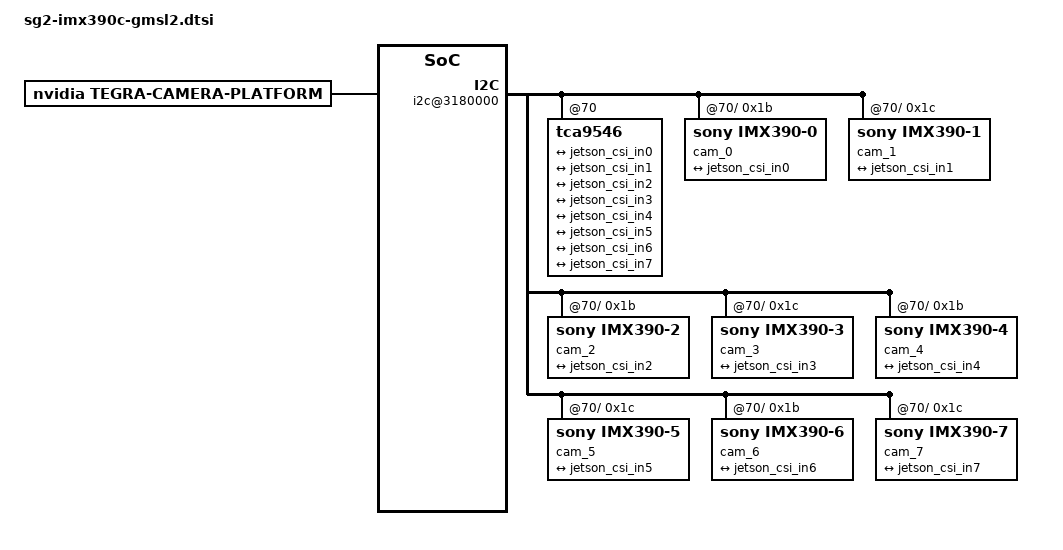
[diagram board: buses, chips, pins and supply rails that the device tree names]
/*
 * Copyright (c) 2018-2021, NVIDIA CORPORATION.  All rights reserved.
 *
 * This program is free software; you can redistribute it and/or modify it
 * under the terms and conditions of the GNU General Public License,
 * version 2, as published by the Free Software Foundation.
 *
 * This program is distributed in the hope it will be useful, but WITHOUT
 * ANY WARRANTY; without even the implied warranty of MERCHANTABILITY or
 * FITNESS FOR A PARTICULAR PURPOSE.  See the GNU General Public License for
 * more details.
 *
 * You should have received a copy of the GNU General Public License
 * along with this program.  If not, see <http://www.gnu.org/licenses/>.
 */

/ {
	tegra-capture-vi {
		num-channels = <8>;
		ports {
			#address-cells = <1>;
			#size-cells = <0>;
			port@0 {
				reg = <0>;
				jetson_vi_in0: endpoint {
					vc-id = <1>;
					port-index = <0>;
					bus-width = <4>;
					remote-endpoint = <&jetson_csi_out0>;
				};
			};
			port@1 {
				reg = <1>;
				jetson_vi_in1: endpoint {
					vc-id = <2>;
					port-index = <0>;
					bus-width = <4>;
					remote-endpoint = <&jetson_csi_out1>;
				};
			};
			port@2 {
				reg = <2>;
				jetson_vi_in2: endpoint {
					vc-id = <1>;
					port-index = <2>;
					bus-width = <4>;
					remote-endpoint = <&jetson_csi_out2>;
				};
			};
			port@3 {
				reg = <3>;
				jetson_vi_in3: endpoint {
					vc-id = <2>;
					port-index = <2>;
					bus-width = <4>;
					remote-endpoint = <&jetson_csi_out3>;
				};
			};
			port@4 {
				reg = <4>;
				jetson_vi_in4: endpoint {
					vc-id = <1>;
					port-index = <4>;
					bus-width = <4>;
					remote-endpoint = <&jetson_csi_out4>;
				};
			};
			port@5 {
				reg = <5>;
				jetson_vi_in5: endpoint {
					vc-id = <2>;
					port-index = <4>;
					bus-width = <4>;
					remote-endpoint = <&jetson_csi_out5>;
				};
			};
			port@6 {
				reg = <6>;
				jetson_vi_in6: endpoint {
					vc-id = <1>;
					port-index = <5>;
					bus-width = <4>;
					remote-endpoint = <&jetson_csi_out6>;
				};
			};
			port@7 {
				reg = <7>;
				jetson_vi_in7: endpoint {
					vc-id = <2>;
					port-index = <5>;
					bus-width = <4>;
					remote-endpoint = <&jetson_csi_out7>;
				};
			};
		};
	};

	bus@0 {
		host1x@13e00000 {
			nvcsi@15a00000 {
				num-channels = <8>;
				#address-cells = <1>;
				#size-cells = <0>;
				channel@0 {
					reg = <0>;
					ports {
						#address-cells = <1>;
						#size-cells = <0>;
						port@0 {
							reg = <0>;
							jetson_csi_in0: endpoint@0 {
								port-index = <0>;
								bus-width = <4>;
								remote-endpoint = <&sensor_out0>;
							};
						};
						port@1 {
							reg = <1>;
							jetson_csi_out0: endpoint@1 {
								remote-endpoint = <&jetson_vi_in0>;
							};
						};
					};
				};
				channel@1 {
					reg = <1>;
					ports {
						#address-cells = <1>;
						#size-cells = <0>;
						port@0 {
							reg = <0>;
							jetson_csi_in1: endpoint@2 {
								port-index = <0>;
								bus-width = <4>;
								remote-endpoint = <&sensor_out1>;
							};
						};
						port@1 {
							reg = <1>;
							jetson_csi_out1: endpoint@3 {
								remote-endpoint = <&jetson_vi_in1>;
							};
						};
					};
				};
				channel@2 {
					reg = <2>;
					ports {
						#address-cells = <1>;
						#size-cells = <0>;
						port@0 {
							reg = <0>;
							jetson_csi_in2: endpoint@4 {
								port-index = <2>;
								bus-width = <4>;
								remote-endpoint = <&sensor_out2>;
							};
						};
						port@1 {
							reg = <1>;
							jetson_csi_out2: endpoint@5 {
								remote-endpoint = <&jetson_vi_in2>;
							};
						};
					};
				};
				channel@3 {
					reg = <3>;
					ports {
						#address-cells = <1>;
						#size-cells = <0>;
						port@0 {
							reg = <0>;
							jetson_csi_in3: endpoint@6 {
								port-index = <2>;
								bus-width = <4>;
								remote-endpoint = <&sensor_out3>;
							};
						};
						port@1 {
							reg = <1>;
							jetson_csi_out3: endpoint@7 {
								remote-endpoint = <&jetson_vi_in3>;
							};
						};
					};
				};
				channel@4 {
					reg = <4>;
					ports {
						#address-cells = <1>;
						#size-cells = <0>;
						port@0 {
							reg = <0>;
							jetson_csi_in4: endpoint@8 {
								port-index = <4>;
								bus-width = <4>;
								remote-endpoint = <&sensor_out4>;
							};
						};
						port@1 {
							reg = <1>;
							jetson_csi_out4: endpoint@9 {
								remote-endpoint = <&jetson_vi_in4>;
							};
						};
					};
				};
				channel@5 {
					reg = <5>;
					ports {
						#address-cells = <1>;
						#size-cells = <0>;
						port@0 {
							reg = <0>;
							jetson_csi_in5: endpoint@10 {
								port-index = <4>;
								bus-width = <4>;
								remote-endpoint = <&sensor_out5>;
							};
						};
						port@1 {
							reg = <1>;
							jetson_csi_out5: endpoint@11 {
								remote-endpoint = <&jetson_vi_in5>;
							};
						};
					};
				};
				channel@6 {
					reg = <6>;
					ports {
						#address-cells = <1>;
						#size-cells = <0>;
						port@0 {
							reg = <0>;
							jetson_csi_in6: endpoint@12 {
								port-index = <6>;
								bus-width = <4>;
								remote-endpoint = <&sensor_out6>;
							};
						};
						port@1 {
							reg = <1>;
							jetson_csi_out6: endpoint@13 {
								remote-endpoint = <&jetson_vi_in6>;
							};
						};
					};
				};
				channel@7 {
					reg = <7>;
					ports {
						#address-cells = <1>;
						#size-cells = <0>;
						port@0 {
							reg = <0>;
							jetson_csi_in7: endpoint@14 {
								port-index = <6>;
								bus-width = <4>;
								remote-endpoint = <&sensor_out7>;
							};
						};
						port@1 {
							reg = <1>;
							jetson_csi_out7: endpoint@15 {
								remote-endpoint = <&jetson_vi_in7>;
							};
						};
					};
				};
			};
		};
	
		i2c@3180000 {
			tca9546@70 {
				i2c@0 {
					cam_0@1b {
						compatible = "sony,imx390-0";
						reg = <0x1b>;
						def-addr = <0x21>;
						devnode = "video0";
	
						/* Physical dimensions of sensor */
						physical_w = "15.0";
						physical_h = "12.5";
	
						sensor_model ="imx390";
	
						/* Defines number of frames to be dropped by driver internally after applying */
						/* sensor crop settings. Some sensors send corrupt frames after applying */
						/* crop co-ordinates */
						post_crop_frame_drop = "0";
	
						/* Convert Gain to unit of dB (decibel) befor passing to kernel driver */
						use_decibel_gain = "true";
	
						/* enable CID_SENSOR_MODE_ID for sensor modes selection */
						use_sensor_mode_id = "true";
	
						mode0 {/*mode SENSOR_MODE_1920X1080_LCG_30FPS*/
							mclk_khz = "24000";
							num_lanes = "4";
							tegra_sinterface = "serial_a";
							vc_id = "1";
							discontinuous_clk = "no";
							dpcm_enable = "false";
							cil_settletime = "0";
							dynamic_pixel_bit_depth = "12";
							csi_pixel_bit_depth = "12";
							mode_type = "bayer";
							pixel_phase = "rggb";
	
							active_w = "1920";
							active_h = "1080";
							readout_orientation = "0";
							line_length = "2200";
							inherent_gain = "1";
							pix_clk_hz = "74250000";
							serdes_pix_clk_hz = "400000000";
	
							gain_factor = "1000";
							min_gain_val = "1"; /* dB */
							max_gain_val = "30000"; /* dB */
							step_gain_val = "300"; /* 0.3 */
							default_gain = "1";
							min_hdr_ratio = "1";
							max_hdr_ratio = "1";
							framerate_factor = "1000000";
							min_framerate = "30000000";
							max_framerate = "30000000";
							step_framerate = "1";
							default_framerate = "30000000";
							exposure_factor = "1000000";
							min_exp_time = "59"; /*us, 2 lines*/
							max_exp_time = "33200";
							step_exp_time = "2";
							default_exp_time = "2000";/* us */
							embedded_metadata_height = "0";
						};
						mode1 {/*mode SENSOR_MODE_1920X1080_CROP_30FPS*/
							mclk_khz = "24000";
							num_lanes = "4";
							tegra_sinterface = "serial_a";
							vc_id = "1";
							discontinuous_clk = "no";
							dpcm_enable = "false";
							cil_settletime = "0";
							dynamic_pixel_bit_depth = "20";
							csi_pixel_bit_depth = "12";
							mode_type = "bayer_wdr_pwl";
							pixel_phase = "rggb";
	
							active_w = "1920";
							active_h = "1080";
							readout_orientation = "0";
							line_length = "2200";
							inherent_gain = "1";
							pix_clk_hz = "74250000";
							serdes_pix_clk_hz = "400000000";
	
							gain_factor = "1000";
							min_gain_val = "1"; /* dB */
							max_gain_val = "30000"; /* dB */
							step_gain_val = "300"; /* 0.3 */
							default_gain = "1";
							min_hdr_ratio = "1";
							max_hdr_ratio = "1";
							framerate_factor = "1000000";
							min_framerate = "30000000";
							max_framerate = "30000000";
							step_framerate = "1";
							default_framerate = "30000000";
							exposure_factor = "1000000";
							min_exp_time = "59"; /*us, 2 lines*/
							max_exp_time = "33333";
							step_exp_time = "1";
							default_exp_time = "33333";/* us */
							embedded_metadata_height = "0";
	
							/* WDR related settings */
							num_control_point = "9";
							control_point_x_0 = "0";
							control_point_x_1 = "480";
							control_point_x_2 = "1438";
							control_point_x_3 = "4315";
							control_point_x_4 = "12945";
							control_point_x_5 = "38836";
							control_point_x_6 = "116508";
							control_point_x_7 = "349525";
							control_point_x_8 = "1048576";
							control_point_y_0 = "0";
							control_point_y_1 = "480";
							control_point_y_2 = "840";
							control_point_y_3 = "1240";
							control_point_y_4 = "1696";
							control_point_y_5 = "2200";
							control_point_y_6 = "2764";
							control_point_y_7 = "3396";
							control_point_y_8 = "4096";
						};
						ports {
							#address-cells = <1>;
							#size-cells = <0>;
							port@0 {
								reg = <0>;
								sensor_out0: endpoint {
									vc-id = <1>;
									port-index = <0>;
									bus-width = <4>;
									remote-endpoint = <&jetson_csi_in0>;
								};
							};
						};
						gmsl-link {
							src-csi-port = "b";
							dst-csi-port = "a";
							serdes-csi-link = "a";
							csi-mode = "1x4";
							st-vc = <0>;
							vc-id = <1>;
							num-lanes = <4>;
							streams = "ued-u1", "raw12";
						};
					};
					cam_1@1c {
						compatible = "sony,imx390-1";
						reg = <0x1c>;
						def-addr = <0x21>;
						devnode = "video1";
	
						/* Physical dimensions of sensor */
						physical_w = "15.0";
						physical_h = "12.5";
	
						sensor_model ="imx390";
	
						/* Defines number of frames to be dropped by driver internally after applying */
						/* sensor crop settings. Some sensors send corrupt frames after applying */
						/* crop co-ordinates */
						post_crop_frame_drop = "0";
	
						/* Convert Gain to unit of dB (decibel) befor passing to kernel driver */
						use_decibel_gain = "true";
	
						/* enable CID_SENSOR_MODE_ID for sensor modes selection */
						use_sensor_mode_id = "true";
	
						mode0 {/*mode SENSOR_MODE_1920X1080_LCG_30FPS*/
							mclk_khz = "24000";
							num_lanes = "4";
							tegra_sinterface = "serial_a";
							vc_id = "2";
							discontinuous_clk = "no";
							dpcm_enable = "false";
							cil_settletime = "0";
							dynamic_pixel_bit_depth = "12";
							csi_pixel_bit_depth = "12";
							mode_type = "bayer";
							pixel_phase = "rggb";
	
							active_w = "1920";
							active_h = "1080";
							readout_orientation = "0";
							line_length = "2200";
							inherent_gain = "1";
							pix_clk_hz = "74250000";
							serdes_pix_clk_hz = "400000000";
	
							gain_factor = "1000";
							min_gain_val = "1"; /* dB */
							max_gain_val = "30000"; /* dB */
							step_gain_val = "300"; /* 0.3 */
							default_gain = "1";
							min_hdr_ratio = "1";
							max_hdr_ratio = "1";
							framerate_factor = "1000000";
							min_framerate = "30000000";
							max_framerate = "30000000";
							step_framerate = "1";
							default_framerate = "30000000";
							exposure_factor = "1000000";
							min_exp_time = "59"; /*us, 2 lines*/
							max_exp_time = "33200";
							step_exp_time = "2";
							default_exp_time = "2000";/* us */
							embedded_metadata_height = "0";
						};
						mode1 {/*mode SENSOR_MODE_1920X1080_CROP_30FPS*/
							mclk_khz = "24000";
							num_lanes = "4";
							tegra_sinterface = "serial_a";
							vc_id = "2";
							discontinuous_clk = "no";
							dpcm_enable = "false";
							cil_settletime = "0";
							dynamic_pixel_bit_depth = "20";
							csi_pixel_bit_depth = "12";
							mode_type = "bayer_wdr_pwl";
							pixel_phase = "rggb";
	
							active_w = "1920";
							active_h = "1080";
							readout_orientation = "0";
							line_length = "2200";
							inherent_gain = "1";
							pix_clk_hz = "74250000";
							serdes_pix_clk_hz = "400000000";
	
							gain_factor = "1000";
							min_gain_val = "1"; /* dB */
							max_gain_val = "30000"; /* dB */
							step_gain_val = "300"; /* 0.3 */
							default_gain = "1";
							min_hdr_ratio = "1";
							max_hdr_ratio = "1";
							framerate_factor = "1000000";
							min_framerate = "30000000";
							max_framerate = "30000000";
							step_framerate = "1";
							default_framerate = "30000000";
							exposure_factor = "1000000";
							min_exp_time = "59"; /*us, 2 lines*/
							max_exp_time = "33333";
							step_exp_time = "1";
							default_exp_time = "33333";/* us */
							embedded_metadata_height = "0";
	
							/* WDR related settings */
							num_control_point = "9";
							control_point_x_0 = "0";
							control_point_x_1 = "480";
							control_point_x_2 = "1438";
							control_point_x_3 = "4315";
							control_point_x_4 = "12945";
							control_point_x_5 = "38836";
							control_point_x_6 = "116508";
							control_point_x_7 = "349525";
							control_point_x_8 = "1048576";
							control_point_y_0 = "0";
							control_point_y_1 = "480";
							control_point_y_2 = "840";
							control_point_y_3 = "1240";
							control_point_y_4 = "1696";
							control_point_y_5 = "2200";
							control_point_y_6 = "2764";
							control_point_y_7 = "3396";
							control_point_y_8 = "4096";
						};
						ports {
							#address-cells = <1>;
							#size-cells = <0>;
							port@0 {
								reg = <0>;
								sensor_out1: endpoint {
									vc-id = <2>;
									port-index = <0>;
									bus-width = <4>;
									remote-endpoint = <&jetson_csi_in1>;
								};
							};
						};
						gmsl-link {
							src-csi-port = "b";
							dst-csi-port = "a";
							serdes-csi-link = "b";
							csi-mode = "1x4";
							st-vc = <0>;
							vc-id = <2>;
							num-lanes = <4>;
							streams = "ued-u1", "raw12";
						};
					};
				};
				i2c@1 {
					cam_2@1b {
						compatible = "sony,imx390-2";
						reg = <0x1b>;
						def-addr = <0x21>;
						devnode = "video2";
	
						/* Physical dimensions of sensor */
						physical_w = "15.0";
						physical_h = "12.5";
						sensor_model ="imx390";
	
						/* Defines number of frames to be dropped by driver internally after applying */
						/* sensor crop settings. Some sensors send corrupt frames after applying */
						/* crop co-ordinates */
						post_crop_frame_drop = "0";
	
						/* Convert Gain to unit of dB (decibel) befor passing to kernel driver */
						use_decibel_gain = "true";
	
						/* enable CID_SENSOR_MODE_ID for sensor modes selection */
						use_sensor_mode_id = "true";
	
						mode0 {/*mode SENSOR_MODE_1920X1080_LCG_30FPS*/
							mclk_khz = "24000";
							num_lanes = "4";
							tegra_sinterface = "serial_c";
							vc_id = "1";
							discontinuous_clk = "no";
							dpcm_enable = "false";
							cil_settletime = "0";
							dynamic_pixel_bit_depth = "12";
							csi_pixel_bit_depth = "12";
							mode_type = "bayer";
							pixel_phase = "rggb";
	
							active_w = "1920";
							active_h = "1080";
							readout_orientation = "0";
							line_length = "2200";
							inherent_gain = "1";
							pix_clk_hz = "74250000";
							serdes_pix_clk_hz = "400000000";
	
							gain_factor = "1000";
							min_gain_val = "1"; /* dB */
							max_gain_val = "30000"; /* dB */
							step_gain_val = "300"; /* 0.3 */
							default_gain = "1";
							min_hdr_ratio = "1";
							max_hdr_ratio = "1";
							framerate_factor = "1000000";
							min_framerate = "30000000";
							max_framerate = "30000000";
							step_framerate = "1";
							default_framerate = "30000000";
							exposure_factor = "1000000";
							min_exp_time = "59"; /*us, 2 lines*/
							max_exp_time = "33200";
							step_exp_time = "2";
							default_exp_time = "2000";/* us */
							embedded_metadata_height = "0";
						};
						mode1 {/*mode SENSOR_MODE_1920X1080_CROP_30FPS*/
							mclk_khz = "24000";
							num_lanes = "4";
							tegra_sinterface = "serial_c";
							vc_id = "1";
							discontinuous_clk = "no";
							dpcm_enable = "false";
							cil_settletime = "0";
							dynamic_pixel_bit_depth = "20";
							csi_pixel_bit_depth = "12";
							mode_type = "bayer_wdr_pwl";
							pixel_phase = "rggb";
	
							active_w = "1920";
							active_h = "1080";
							readout_orientation = "0";
							line_length = "2200";
							inherent_gain = "1";
							pix_clk_hz = "74250000";
							serdes_pix_clk_hz = "400000000";
	
							gain_factor = "1000";
							min_gain_val = "1"; /* dB */
							max_gain_val = "30000"; /* dB */
							step_gain_val = "300"; /* 0.3 */
							default_gain = "1";
							min_hdr_ratio = "1";
							max_hdr_ratio = "1";
							framerate_factor = "1000000";
							min_framerate = "30000000";
							max_framerate = "30000000";
							step_framerate = "1";
							default_framerate = "30000000";
							exposure_factor = "1000000";
							min_exp_time = "59"; /*us, 2 lines*/
							max_exp_time = "33333";
							step_exp_time = "1";
							default_exp_time = "33333";/* us */
							embedded_metadata_height = "0";
	
							/* WDR related settings */
							num_control_point = "9";
							control_point_x_0 = "0";
							control_point_x_1 = "480";
							control_point_x_2 = "1438";
							control_point_x_3 = "4315";
							control_point_x_4 = "12945";
							control_point_x_5 = "38836";
							control_point_x_6 = "116508";
							control_point_x_7 = "349525";
							control_point_x_8 = "1048576";
							control_point_y_0 = "0";
							control_point_y_1 = "480";
							control_point_y_2 = "840";
							control_point_y_3 = "1240";
							control_point_y_4 = "1696";
							control_point_y_5 = "2200";
							control_point_y_6 = "2764";
							control_point_y_7 = "3396";
							control_point_y_8 = "4096";
						};
						ports {
							#address-cells = <1>;
							#size-cells = <0>;
							port@0 {
								reg = <0>;
								sensor_out2: endpoint {
									vc-id = <1>;
									port-index = <2>;
									bus-width = <4>;
									remote-endpoint = <&jetson_csi_in2>;
								};
							};
						};
						gmsl-link {
							src-csi-port = "b";
							dst-csi-port = "a";
							serdes-csi-link = "a";
							csi-mode = "1x4";
							st-vc = <0>;
							vc-id = <1>;
							num-lanes = <4>;
							streams = "ued-u1", "raw12";
						};
					};
					cam_3@1c {
						compatible = "sony,imx390-3";
						reg = <0x1c>;
						def-addr = <0x21>;
						devnode = "video3";
	
						/* Physical dimensions of sensor */
						physical_w = "15.0";
						physical_h = "12.5";
	
						sensor_model ="imx390";
	
						/* Defines number of frames to be dropped by driver internally after applying */
						/* sensor crop settings. Some sensors send corrupt frames after applying */
						/* crop co-ordinates */
						post_crop_frame_drop = "0";
	
						/* Convert Gain to unit of dB (decibel) befor passing to kernel driver */
						use_decibel_gain = "true";
	
						/* enable CID_SENSOR_MODE_ID for sensor modes selection */
						use_sensor_mode_id = "true";
	
						mode0 {/*mode SENSOR_MODE_1920X1080_LCG_30FPS*/
							mclk_khz = "24000";
							num_lanes = "4";
							tegra_sinterface = "serial_c";
							vc_id = "2";
							discontinuous_clk = "no";
							dpcm_enable = "false";
							cil_settletime = "0";
							dynamic_pixel_bit_depth = "12";
							csi_pixel_bit_depth = "12";
							mode_type = "bayer";
							pixel_phase = "rggb";
	
							active_w = "1920";
							active_h = "1080";
							readout_orientation = "0";
							line_length = "2200";
							inherent_gain = "1";
							pix_clk_hz = "74250000";
							serdes_pix_clk_hz = "400000000";
	
							gain_factor = "1000";
							min_gain_val = "1"; /* dB */
							max_gain_val = "30000"; /* dB */
							step_gain_val = "300"; /* 0.3 */
							default_gain = "1";
							min_hdr_ratio = "1";
							max_hdr_ratio = "1";
							framerate_factor = "1000000";
							min_framerate = "30000000";
							max_framerate = "30000000";
							step_framerate = "1";
							default_framerate = "30000000";
							exposure_factor = "1000000";
							min_exp_time = "59"; /*us, 2 lines*/
							max_exp_time = "33200";
							step_exp_time = "2";
							default_exp_time = "2000";/* us */
							embedded_metadata_height = "0";
						};
						mode1 {/*mode SENSOR_MODE_1920X1080_CROP_30FPS*/
							mclk_khz = "24000";
							num_lanes = "4";
							tegra_sinterface = "serial_c";
							vc_id = "2";
							discontinuous_clk = "no";
							dpcm_enable = "false";
							cil_settletime = "0";
							dynamic_pixel_bit_depth = "20";
							csi_pixel_bit_depth = "12";
							mode_type = "bayer_wdr_pwl";
							pixel_phase = "rggb";
	
							active_w = "1920";
							active_h = "1080";
							readout_orientation = "0";
							line_length = "2200";
							inherent_gain = "1";
							pix_clk_hz = "74250000";
							serdes_pix_clk_hz = "400000000";
	
							gain_factor = "1000";
							min_gain_val = "1"; /* dB */
							max_gain_val = "30000"; /* dB */
							step_gain_val = "300"; /* 0.3 */
							default_gain = "1";
							min_hdr_ratio = "1";
							max_hdr_ratio = "1";
							framerate_factor = "1000000";
							min_framerate = "30000000";
							max_framerate = "30000000";
							step_framerate = "1";
							default_framerate = "30000000";
							exposure_factor = "1000000";
							min_exp_time = "59"; /*us, 2 lines*/
							max_exp_time = "33333";
							step_exp_time = "1";
							default_exp_time = "33333";/* us */
							embedded_metadata_height = "0";
	
							/* WDR related settings */
							num_control_point = "9";
							control_point_x_0 = "0";
							control_point_x_1 = "480";
							control_point_x_2 = "1438";
							control_point_x_3 = "4315";
							control_point_x_4 = "12945";
							control_point_x_5 = "38836";
							control_point_x_6 = "116508";
							control_point_x_7 = "349525";
							control_point_x_8 = "1048576";
							control_point_y_0 = "0";
							control_point_y_1 = "480";
							control_point_y_2 = "840";
							control_point_y_3 = "1240";
							control_point_y_4 = "1696";
							control_point_y_5 = "2200";
							control_point_y_6 = "2764";
							control_point_y_7 = "3396";
							control_point_y_8 = "4096";
						};
						ports {
							#address-cells = <1>;
							#size-cells = <0>;
							port@0 {
								reg = <0>;
								sensor_out3: endpoint {
									vc-id = <2>;
									port-index = <2>;
									bus-width = <4>;
									remote-endpoint = <&jetson_csi_in3>;
								};
							};
						};
						gmsl-link {
							src-csi-port = "b";
							dst-csi-port = "a";
							serdes-csi-link = "b";
							csi-mode = "1x4";
							st-vc = <0>;
							vc-id = <2>;
							num-lanes = <4>;
							streams = "ued-u1", "raw12";
						};
					};
				};
				i2c@2 {
					cam_4@1b {
						compatible = "sony,imx390-4";
						reg = <0x1b>;
						def-addr = <0x21>;
						devnode = "video4";
	
						/* Physical dimensions of sensor */
						physical_w = "15.0";
						physical_h = "12.5";
	
						sensor_model ="imx390";
	
						/* Defines number of frames to be dropped by driver internally after applying */
						/* sensor crop settings. Some sensors send corrupt frames after applying */
						/* crop co-ordinates */
						post_crop_frame_drop = "0";
	
						/* Convert Gain to unit of dB (decibel) befor passing to kernel driver */
						use_decibel_gain = "true";
	
						/* enable CID_SENSOR_MODE_ID for sensor modes selection */
						use_sensor_mode_id = "true";
	
						mode0 {/*mode SENSOR_MODE_1920X1080_LCG_30FPS*/
							mclk_khz = "24000";
							num_lanes = "4";
							tegra_sinterface = "serial_e";
							vc_id = "1";
							discontinuous_clk = "no";
							dpcm_enable = "false";
							cil_settletime = "0";
							dynamic_pixel_bit_depth = "12";
							csi_pixel_bit_depth = "12";
							mode_type = "bayer";
							pixel_phase = "rggb";
	
							active_w = "1920";
							active_h = "1080";
							readout_orientation = "0";
							line_length = "2200";
							inherent_gain = "1";
							pix_clk_hz = "74250000";
							serdes_pix_clk_hz = "400000000";
	
							gain_factor = "1000";
							min_gain_val = "1"; /* dB */
							max_gain_val = "30000"; /* dB */
							step_gain_val = "300"; /* 0.3 */
							default_gain = "1";
							min_hdr_ratio = "1";
							max_hdr_ratio = "1";
							framerate_factor = "1000000";
							min_framerate = "30000000";
							max_framerate = "30000000";
							step_framerate = "1";
							default_framerate = "30000000";
							exposure_factor = "1000000";
							min_exp_time = "59"; /*us, 2 lines*/
							max_exp_time = "33200";
							step_exp_time = "2";
							default_exp_time = "2000";/* us */
							embedded_metadata_height = "0";
						};
						mode1 {/*mode SENSOR_MODE_1920X1080_CROP_30FPS*/
							mclk_khz = "24000";
							num_lanes = "4";
							tegra_sinterface = "serial_e";
							vc_id = "1";
							discontinuous_clk = "no";
							dpcm_enable = "false";
							cil_settletime = "0";
							dynamic_pixel_bit_depth = "20";
							csi_pixel_bit_depth = "12";
							mode_type = "bayer_wdr_pwl";
							pixel_phase = "rggb";
	
							active_w = "1920";
							active_h = "1080";
							readout_orientation = "0";
							line_length = "2200";
							inherent_gain = "1";
							pix_clk_hz = "74250000";
							serdes_pix_clk_hz = "400000000";
	
							gain_factor = "1000";
							min_gain_val = "1"; /* dB */
							max_gain_val = "30000"; /* dB */
							step_gain_val = "300"; /* 0.3 */
							default_gain = "1";
							min_hdr_ratio = "1";
							max_hdr_ratio = "1";
							framerate_factor = "1000000";
							min_framerate = "30000000";
							max_framerate = "30000000";
							step_framerate = "1";
							default_framerate = "30000000";
							exposure_factor = "1000000";
							min_exp_time = "59"; /*us, 2 lines*/
							max_exp_time = "33333";
							step_exp_time = "1";
							default_exp_time = "33333";/* us */
							embedded_metadata_height = "0";
	
							/* WDR related settings */
							num_control_point = "9";
							control_point_x_0 = "0";
							control_point_x_1 = "480";
							control_point_x_2 = "1438";
							control_point_x_3 = "4315";
							control_point_x_4 = "12945";
							control_point_x_5 = "38836";
							control_point_x_6 = "116508";
							control_point_x_7 = "349525";
							control_point_x_8 = "1048576";
							control_point_y_0 = "0";
							control_point_y_1 = "480";
							control_point_y_2 = "840";
							control_point_y_3 = "1240";
							control_point_y_4 = "1696";
							control_point_y_5 = "2200";
							control_point_y_6 = "2764";
							control_point_y_7 = "3396";
							control_point_y_8 = "4096";
						};
						ports {
							#address-cells = <1>;
							#size-cells = <0>;
							port@0 {
								reg = <0>;
								sensor_out4: endpoint {
									vc-id = <1>;
									port-index = <4>;
									bus-width = <4>;
									remote-endpoint = <&jetson_csi_in4>;
								};
							};
						};
						gmsl-link {
							src-csi-port = "b";
							dst-csi-port = "a";
							serdes-csi-link = "a";
							csi-mode = "1x4";
							st-vc = <0>;
							vc-id = <1>;
							num-lanes = <4>;
							streams = "ued-u1", "raw12";
						};
					};
					cam_5@1c {
						compatible = "sony,imx390-5";
						reg = <0x1c>;
						def-addr = <0x21>;
						devnode = "video5";
				
						/* Physical dimensions of sensor */
						physical_w = "15.0";
						physical_h = "12.5";
	
						sensor_model ="imx390";
	
						/* Defines number of frames to be dropped by driver internally after applying */
						/* sensor crop settings. Some sensors send corrupt frames after applying */
						/* crop co-ordinates */
						post_crop_frame_drop = "0";
	
						/* Convert Gain to unit of dB (decibel) befor passing to kernel driver */
						use_decibel_gain = "true";
	
						/* enable CID_SENSOR_MODE_ID for sensor modes selection */
						use_sensor_mode_id = "true";
	
						mode0 {/*mode SENSOR_MODE_1920X1080_LCG_30FPS*/
							mclk_khz = "24000";
							num_lanes = "4";
							tegra_sinterface = "serial_e";
							vc_id = "2";
							discontinuous_clk = "no";
							dpcm_enable = "false";
							cil_settletime = "0";
							dynamic_pixel_bit_depth = "12";
							csi_pixel_bit_depth = "12";
							mode_type = "bayer";
							pixel_phase = "rggb";
	
							active_w = "1920";
							active_h = "1080";
							readout_orientation = "0";
							line_length = "2200";
							inherent_gain = "1";
							pix_clk_hz = "74250000";
							serdes_pix_clk_hz = "400000000";
	
							gain_factor = "1000";
							min_gain_val = "1"; /* dB */
							max_gain_val = "30000"; /* dB */
							step_gain_val = "300"; /* 0.3 */
							default_gain = "1";
							min_hdr_ratio = "1";
							max_hdr_ratio = "1";
							framerate_factor = "1000000";
							min_framerate = "30000000";
							max_framerate = "30000000";
							step_framerate = "1";
							default_framerate = "30000000";
							exposure_factor = "1000000";
							min_exp_time = "59"; /*us, 2 lines*/
							max_exp_time = "33200";
							step_exp_time = "2";
							default_exp_time = "2000";/* us */
							embedded_metadata_height = "0";
						};
						mode1 {/*mode SENSOR_MODE_1920X1080_CROP_30FPS*/
							mclk_khz = "24000";
							num_lanes = "4";
							tegra_sinterface = "serial_e";
							vc_id = "2";
							discontinuous_clk = "no";
							dpcm_enable = "false";
							cil_settletime = "0";
							dynamic_pixel_bit_depth = "20";
							csi_pixel_bit_depth = "12";
							mode_type = "bayer_wdr_pwl";
							pixel_phase = "rggb";
	
							active_w = "1920";
							active_h = "1080";
							readout_orientation = "0";
							line_length = "2200";
							inherent_gain = "1";
							pix_clk_hz = "74250000";
							serdes_pix_clk_hz = "400000000";
	
							gain_factor = "1000";
							min_gain_val = "1"; /* dB */
							max_gain_val = "30000"; /* dB */
							step_gain_val = "300"; /* 0.3 */
							default_gain = "1";
							min_hdr_ratio = "1";
							max_hdr_ratio = "1";
							framerate_factor = "1000000";
							min_framerate = "30000000";
							max_framerate = "30000000";
							step_framerate = "1";
							default_framerate = "30000000";
							exposure_factor = "1000000";
							min_exp_time = "59"; /*us, 2 lines*/
							max_exp_time = "33333";
							step_exp_time = "1";
							default_exp_time = "33333";/* us */
							embedded_metadata_height = "0";
	
							/* WDR related settings */
							num_control_point = "9";
							control_point_x_0 = "0";
							control_point_x_1 = "480";
							control_point_x_2 = "1438";
							control_point_x_3 = "4315";
							control_point_x_4 = "12945";
							control_point_x_5 = "38836";
							control_point_x_6 = "116508";
							control_point_x_7 = "349525";
							control_point_x_8 = "1048576";
							control_point_y_0 = "0";
							control_point_y_1 = "480";
							control_point_y_2 = "840";
							control_point_y_3 = "1240";
							control_point_y_4 = "1696";
							control_point_y_5 = "2200";
							control_point_y_6 = "2764";
							control_point_y_7 = "3396";
							control_point_y_8 = "4096";
						};
						ports {
							#address-cells = <1>;
							#size-cells = <0>;
							port@0 {
								reg = <0>;
								sensor_out5: endpoint {
									vc-id = <2>;
									port-index = <4>;
									bus-width = <4>;
									remote-endpoint = <&jetson_csi_in5>;
								};
							};
						};
						gmsl-link {
							src-csi-port = "b";
							dst-csi-port = "a";
							serdes-csi-link = "b";
							csi-mode = "1x4";
							st-vc = <0>;
							vc-id = <2>;
							num-lanes = <4>;
							streams = "ued-u1", "raw12";
						};
					};
				};
				i2c@3 {
					cam_6@1b {
						compatible = "sony,imx390-6";
						reg = <0x1b>;
						def-addr = <0x21>;
						devnode = "video6";
	
						/* Physical dimensions of sensor */
						physical_w = "15.0";
						physical_h = "12.5";
						sensor_model ="imx390";
	
						/* Defines number of frames to be dropped by driver internally after applying */
						/* sensor crop settings. Some sensors send corrupt frames after applying */
						/* crop co-ordinates */
						post_crop_frame_drop = "0";
	
						/* Convert Gain to unit of dB (decibel) befor passing to kernel driver */
						use_decibel_gain = "true";
	
						/* enable CID_SENSOR_MODE_ID for sensor modes selection */
						use_sensor_mode_id = "true";
	
	
						mode0 {/*mode SENSOR_MODE_1920X1080_LCG_30FPS*/
							mclk_khz = "24000";
							num_lanes = "4";
							tegra_sinterface = "serial_g";
							vc_id = "1";
							discontinuous_clk = "no";
							dpcm_enable = "false";
							cil_settletime = "0";
							dynamic_pixel_bit_depth = "12";
							csi_pixel_bit_depth = "12";
							mode_type = "bayer";
							pixel_phase = "rggb";
	
							active_w = "1920";
							active_h = "1080";
							readout_orientation = "0";
							line_length = "2200";
							inherent_gain = "1";
							pix_clk_hz = "74250000";
							serdes_pix_clk_hz = "400000000";
	
							gain_factor = "1000";
							min_gain_val = "1"; /* dB */
							max_gain_val = "30000"; /* dB */
							step_gain_val = "300"; /* 0.3 */
							default_gain = "1";
							min_hdr_ratio = "1";
							max_hdr_ratio = "1";
							framerate_factor = "1000000";
							min_framerate = "30000000";
							max_framerate = "30000000";
							step_framerate = "1";
							default_framerate = "30000000";
							exposure_factor = "1000000";
							min_exp_time = "59"; /*us, 2 lines*/
							max_exp_time = "33200";
							step_exp_time = "2";
							default_exp_time = "2000";/* us */
							embedded_metadata_height = "0";
						};
						mode1 {/*mode SENSOR_MODE_1920X1080_CROP_30FPS*/
							mclk_khz = "24000";
							num_lanes = "4";
							tegra_sinterface = "serial_g";
							vc_id = "1";
							discontinuous_clk = "no";
							dpcm_enable = "false";
							cil_settletime = "0";
							dynamic_pixel_bit_depth = "20";
							csi_pixel_bit_depth = "12";
							mode_type = "bayer_wdr_pwl";
							pixel_phase = "rggb";
	
							active_w = "1920";
							active_h = "1080";
							readout_orientation = "0";
							line_length = "2200";
							inherent_gain = "1";
							pix_clk_hz = "74250000";
							serdes_pix_clk_hz = "400000000";
	
							gain_factor = "1000";
							min_gain_val = "1"; /* dB */
							max_gain_val = "30000"; /* dB */
							step_gain_val = "300"; /* 0.3 */
							default_gain = "1";
							min_hdr_ratio = "1";
							max_hdr_ratio = "1";
							framerate_factor = "1000000";
							min_framerate = "30000000";
							max_framerate = "30000000";
							step_framerate = "1";
							default_framerate = "30000000";
							exposure_factor = "1000000";
							min_exp_time = "59"; /*us, 2 lines*/
							max_exp_time = "33333";
							step_exp_time = "1";
							default_exp_time = "33333";/* us */
							embedded_metadata_height = "0";
	
							/* WDR related settings */
							num_control_point = "9";
							control_point_x_0 = "0";
							control_point_x_1 = "480";
							control_point_x_2 = "1438";
							control_point_x_3 = "4315";
							control_point_x_4 = "12945";
							control_point_x_5 = "38836";
							control_point_x_6 = "116508";
							control_point_x_7 = "349525";
							control_point_x_8 = "1048576";
							control_point_y_0 = "0";
							control_point_y_1 = "480";
							control_point_y_2 = "840";
							control_point_y_3 = "1240";
							control_point_y_4 = "1696";
							control_point_y_5 = "2200";
							control_point_y_6 = "2764";
							control_point_y_7 = "3396";
							control_point_y_8 = "4096";
						};
						ports {
							#address-cells = <1>;
							#size-cells = <0>;
							port@0 {
								reg = <0>;
								sensor_out6: endpoint {
									vc-id = <1>;
									port-index = <6>;
									bus-width = <4>;
									remote-endpoint = <&jetson_csi_in6>;
								};
							};
						};
						gmsl-link {
							src-csi-port = "b";
							dst-csi-port = "a";
							serdes-csi-link = "a";
							csi-mode = "1x4";
							st-vc = <0>;
							vc-id = <1>;
							num-lanes = <4>;
							streams = "ued-u1", "raw12";
						};
					};
					cam_7@1c {
						compatible = "sony,imx390-7";
						reg = <0x1c>;
						def-addr = <0x21>;
						devnode = "video7";
				
						/* Physical dimensions of sensor */
						physical_w = "15.0";
						physical_h = "12.5";
	
						sensor_model ="imx390";
	
						/* Defines number of frames to be dropped by driver internally after applying */
						/* sensor crop settings. Some sensors send corrupt frames after applying */
						/* crop co-ordinates */
						post_crop_frame_drop = "0";
	
						/* Convert Gain to unit of dB (decibel) befor passing to kernel driver */
						use_decibel_gain = "true";
	
						/* enable CID_SENSOR_MODE_ID for sensor modes selection */
						use_sensor_mode_id = "true";
	
						mode0 {/*mode SENSOR_MODE_1920X1080_LCG_30FPS*/
							mclk_khz = "24000";
							num_lanes = "4";
							tegra_sinterface = "serial_g";
							vc_id = "2";
							discontinuous_clk = "no";
							dpcm_enable = "false";
							cil_settletime = "0";
							dynamic_pixel_bit_depth = "12";
							csi_pixel_bit_depth = "12";
							mode_type = "bayer";
							pixel_phase = "rggb";
	
							active_w = "1920";
							active_h = "1080";
							readout_orientation = "0";
							line_length = "2200";
							inherent_gain = "1";
							pix_clk_hz = "74250000";
							serdes_pix_clk_hz = "400000000";
	
							gain_factor = "1000";
							min_gain_val = "1"; /* dB */
							max_gain_val = "30000"; /* dB */
							step_gain_val = "300"; /* 0.3 */
							default_gain = "1";
							min_hdr_ratio = "1";
							max_hdr_ratio = "1";
							framerate_factor = "1000000";
							min_framerate = "30000000";
							max_framerate = "30000000";
							step_framerate = "1";
							default_framerate = "30000000";
							exposure_factor = "1000000";
							min_exp_time = "59"; /*us, 2 lines*/
							max_exp_time = "33200";
							step_exp_time = "2";
							default_exp_time = "2000";/* us */
							embedded_metadata_height = "0";
						};
						mode1 {/*mode SENSOR_MODE_1920X1080_CROP_30FPS*/
							mclk_khz = "24000";
							num_lanes = "4";
							tegra_sinterface = "serial_g";
							vc_id = "2";
							discontinuous_clk = "no";
							dpcm_enable = "false";
							cil_settletime = "0";
							dynamic_pixel_bit_depth = "20";
							csi_pixel_bit_depth = "12";
							mode_type = "bayer_wdr_pwl";
							pixel_phase = "rggb";
	
							active_w = "1920";
							active_h = "1080";
							readout_orientation = "0";
							line_length = "2200";
							inherent_gain = "1";
							pix_clk_hz = "74250000";
							serdes_pix_clk_hz = "400000000";
	
							gain_factor = "1000";
							min_gain_val = "1"; /* dB */
							max_gain_val = "30000"; /* dB */
							step_gain_val = "300"; /* 0.3 */
							default_gain = "1";
							min_hdr_ratio = "1";
							max_hdr_ratio = "1";
							framerate_factor = "1000000";
							min_framerate = "30000000";
							max_framerate = "30000000";
							step_framerate = "1";
							default_framerate = "30000000";
							exposure_factor = "1000000";
							min_exp_time = "59"; /*us, 2 lines*/
							max_exp_time = "33333";
							step_exp_time = "1";
							default_exp_time = "33333";/* us */
							embedded_metadata_height = "0";
	
							/* WDR related settings */
							num_control_point = "9";
							control_point_x_0 = "0";
							control_point_x_1 = "480";
							control_point_x_2 = "1438";
							control_point_x_3 = "4315";
							control_point_x_4 = "12945";
							control_point_x_5 = "38836";
							control_point_x_6 = "116508";
							control_point_x_7 = "349525";
							control_point_x_8 = "1048576";
							control_point_y_0 = "0";
							control_point_y_1 = "480";
							control_point_y_2 = "840";
							control_point_y_3 = "1240";
							control_point_y_4 = "1696";
							control_point_y_5 = "2200";
							control_point_y_6 = "2764";
							control_point_y_7 = "3396";
							control_point_y_8 = "4096";
						};
						ports {
							#address-cells = <1>;
							#size-cells = <0>;
							port@0 {
								reg = <0>;
								sensor_out7: endpoint {
									vc-id = <2>;
									port-index = <6>;
									bus-width = <4>;
									remote-endpoint = <&jetson_csi_in7>;
								};
							};
						};
						gmsl-link {
							src-csi-port = "b";
							dst-csi-port = "a";
							serdes-csi-link = "b";
							csi-mode = "1x4";
							st-vc = <0>;
							vc-id = <2>;
							num-lanes = <4>;
							streams = "ued-u1", "raw12";
						};
					};
				};
			};
		};
	};
};

/ {

	tegra-camera-platform {
		compatible = "nvidia, tegra-camera-platform";

		num_csi_lanes = <16>;
		max_lane_speed = <4000000>;
		min_bits_per_pixel = <10>;
		vi_peak_byte_per_pixel = <2>;
		vi_bw_margin_pct = <25>;
		isp_peak_byte_per_pixel = <5>;
		isp_bw_margin_pct = <25>;

		/**
		 * The general guideline for naming badge_info contains 3 parts, and is as follows,
		 * The first part is the camera_board_id for the module; if the module is in a FFD
		 * platform, then use the platform name for this part.
		 * The second part contains the position of the module, ex. "rear" or "front".
		 * The third part contains the last 6 characters of a part number which is found
		 * in the module's specsheet from the vender.
		 */
		modules {
			module0 {
				// badge = "cam0_position0";
				// position = "position0";
				badge = "cam0_bottomleft";
				position = "bottomleft";
				orientation = "1";
				drivernode0 {
					/* Declare PCL support driver (classically known as guid)  */
					pcl_id = "v4l2_sensor";
					/* Driver v4l2 device name */
					devname = "imx390 30-001b";
					/* Declare the device-tree hierarchy to driver instance */
					// proc-device-tree = "/proc/device-tree/bus@0/i2c@3180000/tca9546@70/i2c@0/cam_0@1b";
					/* Declare the device-tree hierarchy to driver instance */
							sysfs-device-tree = "/sys/firmware/devicetree/base/bus@0/i2c@3180000/tca9546@70/i2c@0/cam_0@1b";
				};
			};
			module1 {
				// badge = "cam1_position1";
				// position = "position1";
				badge = "cam1_bottomright";
				position = "bottomright";
				orientation = "1";
				drivernode0 {
					/* Declare PCL support driver (classically known as guid)  */
					pcl_id = "v4l2_sensor";
					/* Driver v4l2 device name */
					devname = "imx390 30-001c";
					/* Declare the device-tree hierarchy to driver instance */
					// proc-device-tree = "/proc/device-tree/bus@0/i2c@3180000/tca9546@70/i2c@0/cam_1@1c";
					/* Declare the device-tree hierarchy to driver instance */
					sysfs-device-tree = "/sys/firmware/devicetree/base/bus@0/i2c@3180000/tca9546@70/i2c@0/cam_1@1c";				
				};
			};
			module2 {
				// badge = "cam2_position2";
				// position = "position2";
				badge = "cam2_centerleft";
				position = "centerleft";
				orientation = "1";
				drivernode0 {
					/* Declare PCL support driver (classically known as guid)  */
					pcl_id = "v4l2_sensor";
					/* Driver v4l2 device name */
					devname = "imx390 31-001b";
					/* Declare the device-tree hierarchy to driver instance */
					// proc-device-tree = "/proc/device-tree/bus@0/i2c@3180000/tca9546@70/i2c@1/cam_2@1b";
					/* Declare the device-tree hierarchy to driver instance */
					sysfs-device-tree = "/sys/firmware/devicetree/base/bus@0/i2c@3180000/tca9546@70/i2c@1/cam_2@1b";

				};
			};
			module3 {
				// badge = "cam3_position3";
				// position = "position3";
				badge = "cam3_centerright";
				position = "centerright";
				orientation = "1";
				drivernode0 {
					/* Declare PCL support driver (classically known as guid)  */
					pcl_id = "v4l2_sensor";
					/* Driver v4l2 device name */
					devname = "imx390 31-001c";
					/* Declare the device-tree hierarchy to driver instance */
					// proc-device-tree = "/proc/device-tree/bus@0/i2c@3180000/tca9546@70/i2c@1/cam_3@1c";
					/* Declare the device-tree hierarchy to driver instance */
					sysfs-device-tree = "/sys/firmware/devicetree/base/bus@0/i2c@3180000/tca9546@70/i2c@1/cam_3@1c";

				};
			};
			module4 {
				// badge = "cam4_position4";
				// position = "position4";
				badge = "cam4_topleft";
				position = "topleft";
				orientation = "1";
				drivernode0 {
					/* Declare PCL support driver (classically known as guid)  */
					pcl_id = "v4l2_sensor";
					/* Driver v4l2 device name */
					devname = "imx390 32-001b";
					/* Declare the device-tree hierarchy to driver instance */
					// proc-device-tree = "/proc/device-tree/bus@0/i2c@3180000/tca9546@70/i2c@2/cam_4@1b";
					/* Declare the device-tree hierarchy to driver instance */
					sysfs-device-tree = "/sys/firmware/devicetree/base/bus@0/i2c@3180000/tca9546@70/i2c@2/cam_4@1b";
				};
			};
			module5 {
				// badge = "cam5_position5";
				// position = "position5";
				badge = "cam5_topright";
				position = "topright";
				orientation = "1";
				drivernode0 {
					/* Declare PCL support driver (classically known as guid)  */
					pcl_id = "v4l2_sensor";
					/* Driver v4l2 device name */
					devname = "imx390 32-001c";
					/* Declare the device-tree hierarchy to driver instance */
					// proc-device-tree = "/proc/device-tree/bus@0/i2c@3180000/tca9546@70/i2c@2/cam_5@1c";
					/* Declare the device-tree hierarchy to driver instance */
					sysfs-device-tree = "/sys/firmware/devicetree/base/bus@0/i2c@3180000/tca9546@70/i2c@2/cam_5@1c";

				};
			};
			module6 {
				badge = "cam6_rear";
				position = "rear";
				orientation = "1";
				drivernode0 {
					/* Declare PCL support driver (classically known as guid)  */
					pcl_id = "v4l2_sensor";
					/* Driver v4l2 device name */
					devname = "imx390 33-001b";
					/* Declare the device-tree hierarchy to driver instance */
					// proc-device-tree = "/proc/device-tree/bus@0/i2c@3180000/tca9546@70/i2c@3/cam_6@1b";
					/* Declare the device-tree hierarchy to driver instance */
					sysfs-device-tree = "/sys/firmware/devicetree/base/bus@0/i2c@3180000/tca9546@70/i2c@3/cam_6@1b";
				};
			};
			module7 {
				badge = "cam7_front";
				position = "front";
				orientation = "1";
				drivernode0 {
					/* Declare PCL support driver (classically known as guid)  */
					pcl_id = "v4l2_sensor";
					/* Driver v4l2 device name */
					devname = "imx390 33-001c";
					/* Declare the device-tree hierarchy to driver instance */
					//proc-device-tree = "/proc/device-tree/bus@0/i2c@3180000/tca9546@70/i2c@3/cam_7@1c";
					/* Declare the device-tree hierarchy to driver instance */
					sysfs-device-tree = "/sys/firmware/devicetree/base/bus@0/i2c@3180000/tca9546@70/i2c@3/cam_7@1c";
				};
			};
		};
	};
};
